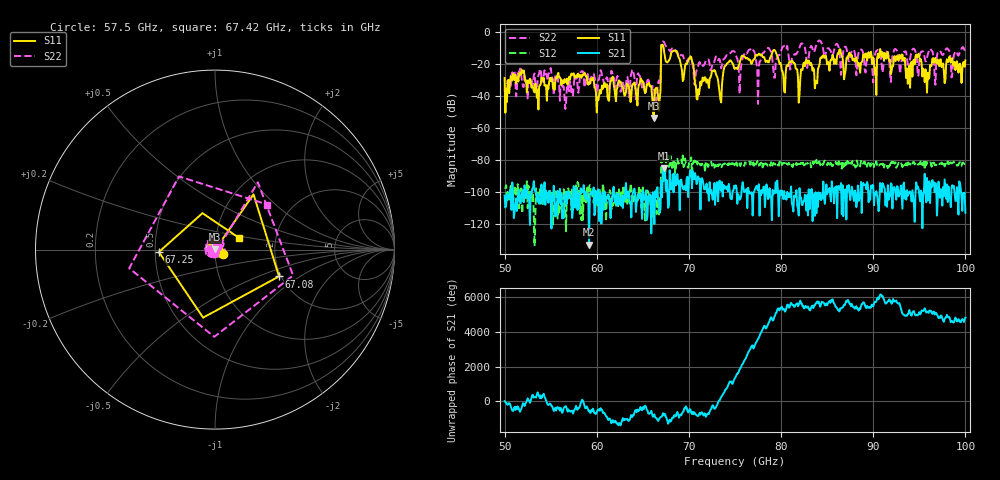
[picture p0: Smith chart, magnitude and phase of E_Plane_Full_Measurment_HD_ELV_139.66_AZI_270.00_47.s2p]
! 11/26/2026 3:40:13 PM
! C:\ANRITSUVNA\TEMP\TEMP.S2P
! CHANNEL.1
! TR.MEASUREMENT
! RAW.DATA
# HZ S RI R 50.0
! FREQ.HZ  S11RE  S11IM  S21RE  S21IM  S12RE  S12IM  S22RE  S22IM
!; PortSelection: Port_12
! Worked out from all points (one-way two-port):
!   601 points, 50 GHz to 100 GHz, reference 50 ohm
!   highest |S21| = -85.18 dB at 67.33 GHz (marker M1); lowest = -133.0 dB at 59.17 GHz (marker M2)
!   lowest |S11| = -53.9 dB at 66.17 GHz (marker M3), VSWR 1.00, Z = 50.1 + j0.146 ohm
!   |S11| at or under -10 dB: start of sweep to 67 GHz; 67.25 GHz to end of sweep
!   |S22| runs from -48.4 to -5.6 dB; largest |S21 - S12| = 0.00016
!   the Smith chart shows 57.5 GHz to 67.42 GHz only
!   S11 on the Smith chart (normalised r, x): 57.5 GHz: 1.09, -0.05; 67.08 GHz: 1.95, -0.69; 67.25 GHz: 0.52, -0.02; 67.42 GHz: 1.29, +0.18
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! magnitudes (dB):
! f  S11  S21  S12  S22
! 50 GHz  -28.9  -102.4  -97.5  -35.6
! 51.67 GHz  -26.3  -107.1  -100.4  -23.2
! 57.5 GHz  -26.1  -96.4  -108.3  -34.6
! 58.42 GHz  -27.1  -99.8  -101.9  -24.8
! 59.17 GHz  -31.6  -133.0  -97.3  -30.2
! 66.17 GHz  -53.9  -106.7  -109.8  -34.0
! 66.67 GHz  -41.5  -106.6  -105.7  -31.6
! 67.08 GHz  -8.3  -103.4  -82.6  -6.8
! 67.25 GHz  -10.1  -93.3  -79.3  -6.2
! 67.33 GHz  -13.4  -85.2  -80.9  -6.9
! 67.42 GHz  -16.6  -89.0  -89.2  -8.3
! 70.25 GHz  -15.9  -88.1  -78.6  -18.8
! 70.92 GHz  -42.4  -93.7  -83.0  -23.2
! 75 GHz  -23.3  -97.8  -84.4  -12.9
! 79.25 GHz  -11.5  -99.7  -82.7  -28.9
! 80.25 GHz  -27.8  -104.6  -82.1  -9.3
! 83.42 GHz  -24.5  -118.4  -81.4  -10.8
! 91.67 GHz  -16.7  -105.0  -83.9  -15.2
! 93.75 GHz  -32.6  -102.6  -81.2  -21.3
! 94.83 GHz  -15.0  -96.7  -83.0  -27.9
! 95.83 GHz  -38.1  -91.4  -81.6  -16.4
! 100 GHz  -18.0  -113.2  -82.1  -12.5
